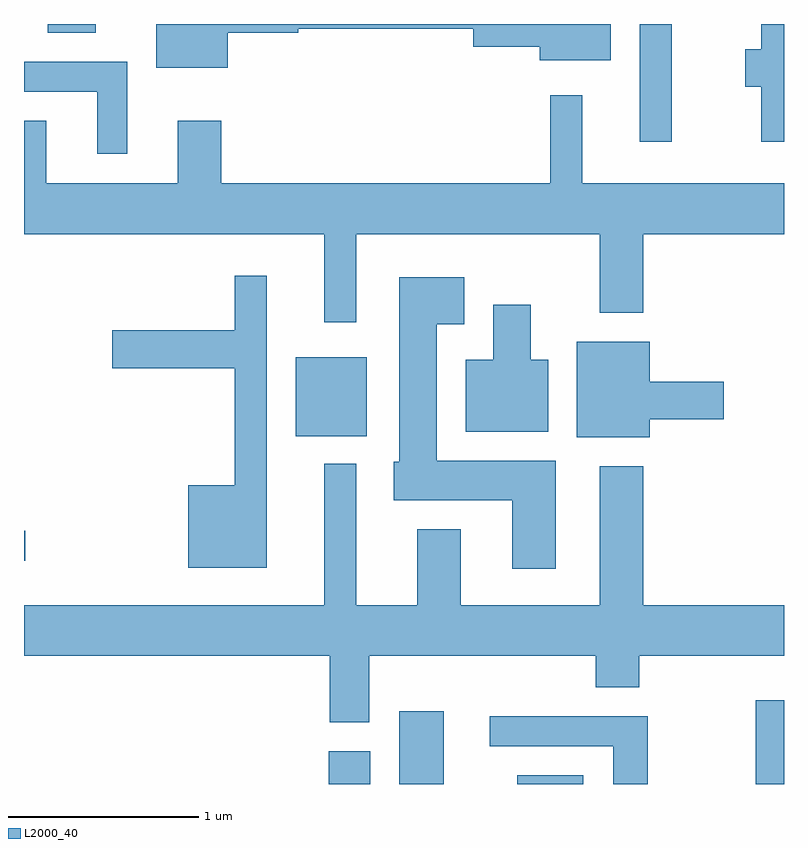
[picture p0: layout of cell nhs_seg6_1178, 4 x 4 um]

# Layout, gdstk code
import gdstk
lib = gdstk.Library(unit=1e-6, precision=1e-09)
def R(c, l, rs):  # rectangles x0, y0, x1, y1
    for r in rs: c.add(gdstk.rectangle(r[:2], r[2:], *l))
def P(c, l, *ps):  # polygons
    for p in ps: c.add(gdstk.Polygon(p, *l))
L2000_40 = (2000, 40)

nhs_seg6_1178 = lib.new_cell('nhs_seg6_1178')
R(nhs_seg6_1178, L2000_40, [(221.216,1638.162,221.434,1638.334), (221.586,1638.162,221.819,1638.544), (222.206,1638.162,222.554,1638.209), (223.461,1638.162,223.611,1638.604), (219.611,1639.336,219.618,1639.494), (221.041,1639.991,221.414,1640.409), (222.851,1641.543,223.019,1642.162), (219.736,1642.116,219.989,1642.162)])
P(nhs_seg6_1178, L2000_40, [(223.611,1642.162),(223.491,1642.162),(223.491,1642.029),(223.406,1642.029),(223.406,1641.831),(223.491,1641.831),(223.491,1641.543),(223.611,1641.543)],
  [(220.684,1642.116),(221.054,1642.116),(221.054,1642.136),(221.976,1642.136),(221.976,1642.041),(222.326,1642.041),(222.326,1641.971),(222.699,1641.971),(222.699,1642.162),(220.306,1642.162),(220.306,1641.931),(220.684,1641.931)],
  [(220.154,1641.964),(219.611,1641.964),(219.611,1641.806),(219.996,1641.806),(219.996,1641.478),(220.154,1641.478)],
  [(221.359,1641.056),(222.641,1641.056),(222.641,1640.641),(222.869,1640.641),(222.869,1641.056),(223.611,1641.056),(223.611,1641.324),(222.549,1641.324),(222.549,1641.788),(222.381,1641.788),(222.381,1641.324),(220.649,1641.324),(220.649,1641.654),(220.421,1641.654),(220.421,1641.324),(219.729,1641.324),(219.729,1641.654),(219.611,1641.654),(219.611,1641.056),(221.191,1641.056),(221.191,1640.593),(221.359,1640.593)],
  [(220.889,1640.838),(220.721,1640.838),(220.721,1640.549),(220.076,1640.549),(220.076,1640.351),(220.721,1640.351),(220.721,1639.734),(220.476,1639.734),(220.476,1639.301),(220.889,1639.301)],
  [(222.409,1639.864),(221.784,1639.864),(221.784,1640.581),(221.929,1640.581),(221.929,1640.829),(221.586,1640.829),(221.586,1639.859),(221.556,1639.859),(221.556,1639.656),(222.181,1639.656),(222.181,1639.296),(222.409,1639.296)],
  [(222.369,1640.394),(222.279,1640.394),(222.279,1640.684),(222.081,1640.684),(222.081,1640.394),(221.936,1640.394),(221.936,1640.016),(222.369,1640.016)],
  [(222.904,1640.081),(223.294,1640.081),(223.294,1640.279),(222.904,1640.279),(222.904,1640.489),(222.521,1640.489),(222.521,1639.986),(222.904,1639.986)],
  [(221.429,1638.836),(222.621,1638.836),(222.621,1638.671),(222.849,1638.671),(222.849,1638.836),(223.611,1638.836),(223.611,1639.104),(222.869,1639.104),(222.869,1639.834),(222.641,1639.834),(222.641,1639.104),(221.909,1639.104),(221.909,1639.504),(221.681,1639.504),(221.681,1639.104),(221.359,1639.104),(221.359,1639.848),(221.191,1639.848),(221.191,1639.104),(219.611,1639.104),(219.611,1638.836),(221.221,1638.836),(221.221,1638.486),(221.429,1638.486)],
  [(222.894,1638.519),(222.063,1638.519),(222.063,1638.361),(222.711,1638.361),(222.711,1638.162),(222.894,1638.162)])

lib.write_gds('nhs_seg6_1178.gds')
